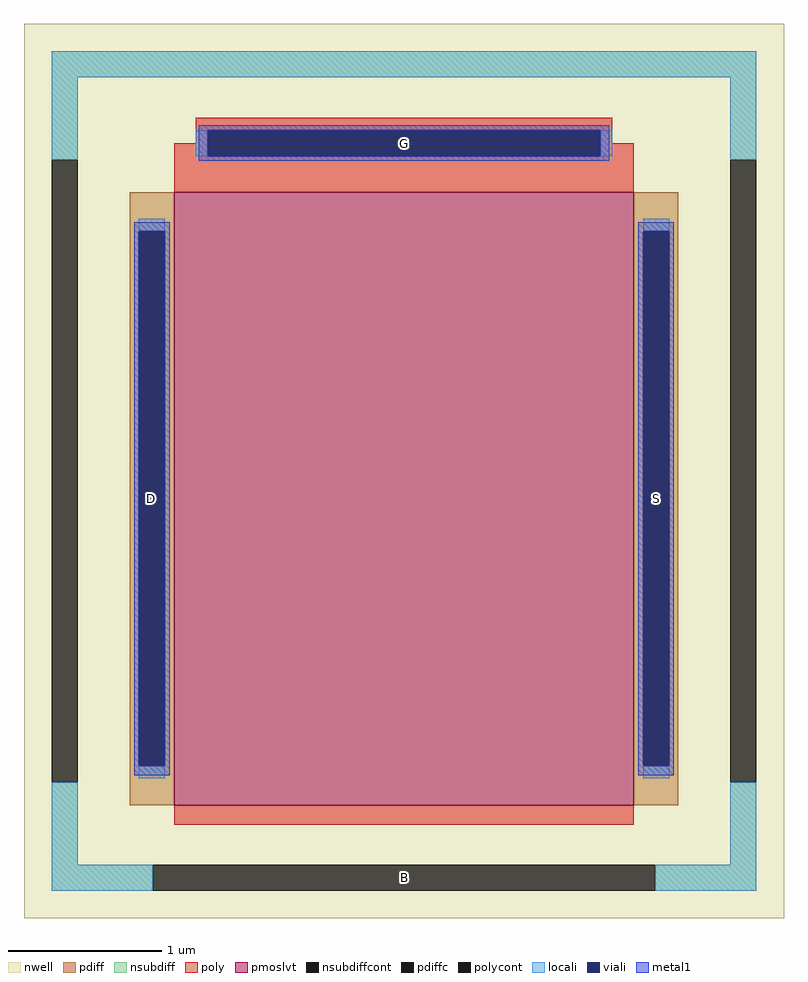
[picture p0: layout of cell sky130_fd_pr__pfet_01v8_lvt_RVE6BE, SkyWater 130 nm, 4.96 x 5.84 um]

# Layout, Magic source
magic
tech sky130A
magscale 1 2
<< nwell >>
rect -496 -584 496 584
<< pmoslvt >>
rect -300 -436 300 364
<< pdiff >>
rect -358 313 -300 364
rect -358 -385 -346 313
rect -312 -385 -300 313
rect -358 -436 -300 -385
rect 300 313 358 364
rect 300 -385 312 313
rect 346 -385 358 313
rect 300 -436 358 -385
<< pdiffc >>
rect -346 -385 -312 313
rect 312 -385 346 313
<< nsubdiff >>
rect -460 514 460 548
rect -460 406 -426 514
rect 426 406 460 514
rect -460 -514 -426 -406
rect 426 -514 460 -406
rect -460 -548 -328 -514
rect 328 -548 460 -514
<< nsubdiffcont >>
rect -460 -406 -426 406
rect 426 -406 460 406
rect -328 -548 328 -514
<< poly >>
rect -272 445 272 461
rect -272 428 -256 445
rect -300 411 -256 428
rect 256 428 272 445
rect 256 411 300 428
rect -300 364 300 411
rect -300 -462 300 -436
<< polycont >>
rect -256 411 256 445
<< locali >>
rect -460 514 460 548
rect -460 406 -426 514
rect -272 411 -256 445
rect 256 411 272 445
rect 426 406 460 514
rect -346 313 -312 329
rect -346 -401 -312 -385
rect 312 313 346 329
rect 312 -401 346 -385
rect -460 -514 -426 -406
rect 426 -514 460 -406
rect -460 -548 -328 -514
rect 328 -548 460 -514
<< viali >>
rect -256 411 256 445
rect -346 -385 -312 313
rect 312 -385 346 313
<< metal1 >>
rect -268 445 268 451
rect -268 411 -256 445
rect 256 411 268 445
rect -268 405 268 411
rect -352 313 -306 325
rect -352 -385 -346 313
rect -312 -385 -306 313
rect -352 -397 -306 -385
rect 306 313 352 325
rect 306 -385 312 313
rect 346 -385 352 313
rect 306 -397 352 -385
<< labels >>
rlabel nsubdiffcont 0 -531 0 -531 0 B
port 1 nsew
rlabel pdiffc -329 -36 -329 -36 0 D
port 2 nsew
rlabel pdiffc 329 -36 329 -36 0 S
port 3 nsew
rlabel polycont 0 428 0 428 0 G
port 4 nsew
<< properties >>
string FIXED_BBOX -443 -531 443 531
string gencell sky130_fd_pr__pfet_01v8_lvt
string library sky130
string parameters w 4 l 3 m 1 nf 1 diffcov 90 polycov 90 guard 1 glc 1 grc 1 gtc 0 gbc 1 tbcov 90 rlcov 90 topc 1 botc 0 poverlap 0 doverlap 1 lmin 0.35 wmin 0.42 class mosfet compatible {sky130_fd_pr__pfet_01v8  sky130_fd_pr__pfet_01v8_lvt sky130_fd_pr__pfet_01v8_hvt  sky130_fd_pr__pfet_g5v0d10v5} full_metal 1 conn_gates 0 viasrc 90 viadrn 90 viagate 90 viagb 0 viagr 0 viagl 0 viagt 0 doports 1
<< end >>
